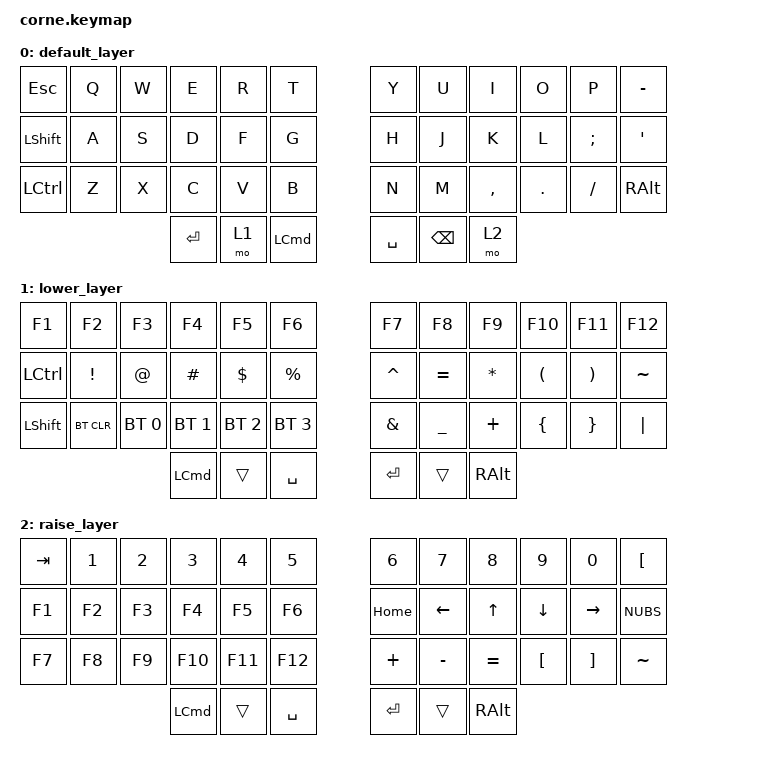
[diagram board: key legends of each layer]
/*
 * Copyright (c) 2020 The ZMK Contributors
 *
 * SPDX-License-Identifier: MIT
 */

#include <behaviors.dtsi>
#include <dt-bindings/zmk/bt.h>
#include <dt-bindings/zmk/keys.h>

/ {
    keymap {
        compatible = "zmk,keymap";

        default_layer {
            // -----------------------------------------------------------------------------------------
            // |  ESC  |  Q  |  W  |  E  |  R  |  T  |   |  Y  |  U   |  I  |  O  |  P  | MINUS |
            // | LSHFT |  A  |  S  |  D  |  F  |  G  |   |  H  |  J   |  K  |  L  |  ;  |   '   |
            // | LCTRL |  Z  |  X  |  C  |  V  |  B  |   |  N  |  M   |  ,  |  .  |  /  | RALT  |
            //                  | ENTER | LWR | LCMD |   | SPACE | BSPC  | RSE |

            bindings = <
&kp ESC    &kp Q  &kp W  &kp E      &kp R  &kp T       &kp Y      &kp U     &kp I      &kp O    &kp P     &kp MINUS
&kp LSHFT  &kp A  &kp S  &kp D      &kp F  &kp G       &kp H      &kp J     &kp K      &kp L    &kp SEMI  &kp SQT
&kp LCTRL  &kp Z  &kp X  &kp C      &kp V  &kp B       &kp N      &kp M     &kp COMMA  &kp DOT  &kp FSLH  &kp RALT
                         &kp ENTER  &mo 1  &kp LCMD    &kp SPACE  &kp BSPC  &mo 2
            >;
        };

        lower_layer {
            // -----------------------------------------------------------------------------------------
            // |  F1  |    F2   |    F3    |    F4    |    F5    |    F6    |   |   F7  |   F8  |   F9  |  F10 |  F11 | F12   |
            // | LCTRL|    EXCL |    AT    |   HASH   |   DLLR   |   PRCNT  |   | CARET | EQUAL | ASTRK | LPAR | RPAR | TILDE |
            // | LSHFT | BT_CLR | BT_SEL 0 | BT_SEL 1 | BT_SEL 2 | BT_SEL 3 |   |  AMPS | UNDER | PLUS  | LBRC | RBRC | PIPE  |
            //                             |   LCMD   |          |    SPC   |   |  ENT  |       | RALT  |

            bindings = <
&kp F1     &kp F2      &kp F3        &kp F4        &kp F5        &kp F6          &kp F7     &kp F8     &kp F9     &kp F10   &kp F11   &kp F12
&kp LCTRL  &kp EXCL    &kp AT        &kp HASH      &kp DLLR      &kp PRCNT       &kp CARET  &kp EQUAL  &kp ASTRK  &kp LPAR  &kp RPAR  &kp TILDE
&kp LSHFT  &bt BT_CLR  &bt BT_SEL 0  &bt BT_SEL 1  &bt BT_SEL 2  &bt BT_SEL 3    &kp AMPS   &kp UNDER  &kp PLUS   &kp LBRC  &kp RBRC  &kp PIPE
                                     &kp LCMD      &trans        &kp SPACE       &kp ENTER  &trans     &kp RALT
            >;
        };

        raise_layer {
            // -----------------------------------------------------------------------------------------
            // |  TAB |  N1  |  N2  |  N3  |  N4  |  N5  |   |  N6    |  N7   | N8    |  N9  |  N0   | LBKT  |
            // |  F1  |  F2  |  F3  |  F4  |  F5  |  F6  |   |  MINUS | LEFT  | UP    | DOWN | RIGHT | NUBS  |
            // |  F7  |  F8  |  F9  |  F10 |  F11 |  F12 |   |  PLUS  | MINUS | EQUAL | LBKT | RBKT  | TILDE |
            //                      | LCMD |     | SPACE |   |  ENT   |       | RALT  |

            bindings = <
&kp TAB  &kp N1  &kp N2  &kp N3    &kp N4   &kp N5       &kp N6     &kp N7     &kp N8     &kp N9    &kp N0     &kp LBKT
&kp F1   &kp F2  &kp F3  &kp F4    &kp F5   &kp F6       &kp HOME   &kp LEFT   &kp UP     &kp DOWN  &kp RIGHT  &kp NUBS
&kp F7   &kp F8  &kp F9  &kp F10   &kp F11  &kp F12      &kp PLUS   &kp MINUS  &kp EQUAL  &kp LBKT  &kp RBKT   &kp TILDE
                         &kp LCMD  &trans   &kp SPACE    &kp ENTER  &trans     &kp RALT
            >;
        };
    };
};
